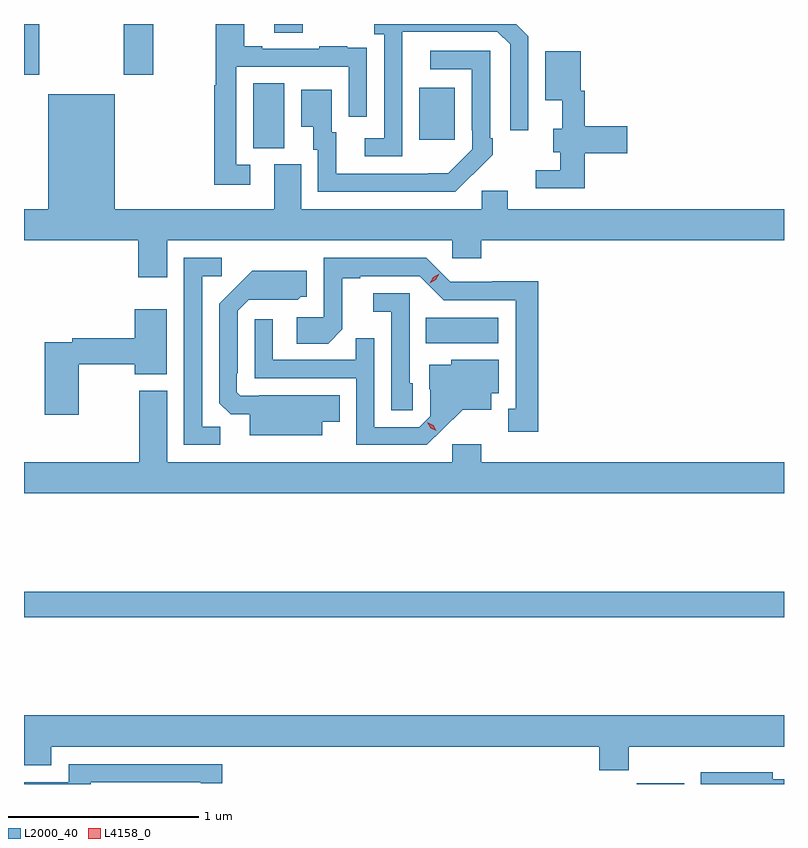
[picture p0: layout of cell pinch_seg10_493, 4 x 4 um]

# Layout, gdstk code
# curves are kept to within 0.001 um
import gdstk
lib = gdstk.Library(unit=1e-6, precision=1e-09)
def R(c, l, rs):  # rectangles x0, y0, x1, y1
    for r in rs: c.add(gdstk.rectangle(r[:2], r[2:], *l))
def P(c, l, *ps):  # polygons
    for p in ps: c.add(gdstk.Polygon(p, *l))
L2000_40 = (2000, 40)
L4158_0 = (4158, 0)

pinch_seg10_493 = lib.new_cell('pinch_seg10_493')
R(pinch_seg10_493, L2000_40, [(206.411,1258.827,206.659,1258.83), (203.185,1259.704,207.185,1259.84), (205.3,1261.148,205.681,1261.282), (204.392,1262.173,204.556,1262.516), (205.265,1262.217,205.453,1262.491), (203.185,1262.559,203.265,1262.827), (203.71,1262.559,203.865,1262.827), (204.503,1262.782,204.651,1262.827)])
P(pinch_seg10_493, L2000_40, [(204.376,1262.085),(204.303,1262.085),(204.303,1262.601),(204.894,1262.601),(204.894,1262.34),(204.99,1262.34),(204.99,1262.594),(204.989,1262.594),(204.989,1262.703),(204.887,1262.703),(204.887,1262.71),(204.739,1262.71),(204.739,1262.697),(204.439,1262.697),(204.439,1262.71),(204.343,1262.71),(204.343,1262.827),(204.195,1262.827),(204.195,1262.504),(204.187,1262.504),(204.187,1261.98),(204.376,1261.98)],
  [(205.176,1262.587),(205.177,1262.787),(205.677,1262.787),(205.743,1262.721),(205.743,1262.268),(205.839,1262.268),(205.839,1262.763),(205.775,1262.827),(205.029,1262.827),(205.029,1262.774),(205.08,1262.774),(205.08,1262.226),(204.978,1262.226),(204.978,1262.13),(205.176,1262.13)],
  [(205.547,1262.035),(205.548,1262.034),(205.653,1262.139),(205.653,1262.227),(205.638,1262.227),(205.638,1262.685),(205.323,1262.685),(205.323,1262.589),(205.542,1262.589),(205.542,1262.269),(205.545,1262.269),(205.545,1262.169),(205.417,1262.041),(204.829,1262.04),(204.829,1262.256),(204.805,1262.256),(204.805,1262.482),(204.644,1262.482),(204.644,1262.285),(204.707,1262.285),(204.707,1262.166),(204.732,1262.166),(204.732,1261.944),(205.456,1261.944)],
  [(206.135,1262.146),(206.359,1262.146),(206.359,1262.288),(206.135,1262.288),(206.135,1262.475),(206.116,1262.475),(206.116,1262.683),(205.928,1262.683),(205.928,1262.426),(206.018,1262.426),(206.018,1262.275),(205.97,1262.275),(205.97,1262.153),(206.007,1262.153),(206.007,1262.058),(205.878,1262.058),(205.878,1261.962),(206.135,1261.962)],
  [(203.938,1261.688),(205.44,1261.688),(205.44,1261.595),(205.592,1261.595),(205.592,1261.688),(207.185,1261.688),(207.185,1261.852),(205.732,1261.852),(205.732,1261.95),(205.593,1261.95),(205.593,1261.852),(204.643,1261.852),(204.643,1262.088),(204.503,1262.088),(204.503,1261.852),(203.662,1261.852),(203.662,1262.458),(203.312,1262.458),(203.312,1261.852),(203.185,1261.852),(203.185,1261.688),(203.786,1261.688),(203.786,1261.494),(203.938,1261.494)],
  [(205.891,1261.472),(205.65,1261.472),(205.65,1261.47),(205.428,1261.47),(205.302,1261.596),(204.762,1261.596),(204.762,1261.284),(204.621,1261.284),(204.621,1261.144),(204.785,1261.144),(204.861,1261.22),(204.861,1261.488),(204.955,1261.488),(204.955,1261.5),(205.269,1261.5),(205.395,1261.374),(205.772,1261.374),(205.772,1260.801),(205.733,1260.801),(205.733,1260.681),(205.891,1260.681)],
  [(204.219,1260.707),(204.123,1260.707),(204.123,1261.5),(204.226,1261.5),(204.226,1261.596),(204.027,1261.596),(204.027,1260.612),(204.219,1260.612)],
  [(204.754,1260.734),(204.848,1260.734),(204.848,1260.874),(204.424,1260.874),(204.424,1260.87),(204.324,1260.87),(204.306,1260.888),(204.306,1260.988),(204.309,1260.988),(204.309,1261.317),(204.369,1261.377),(204.626,1261.376),(204.642,1261.392),(204.673,1261.392),(204.673,1261.528),(204.385,1261.528),(204.213,1261.354),(204.213,1260.832),(204.272,1260.773),(204.374,1260.773),(204.374,1260.662),(204.754,1260.662)],
  [(205.23,1260.936),(205.215,1260.936),(205.215,1261.41),(205.023,1261.41),(205.023,1261.313),(205.119,1261.313),(205.119,1260.793),(205.23,1260.793)],
  [(203.472,1261.036),(203.768,1261.036),(203.768,1260.983),(203.935,1260.983),(203.935,1261.327),(203.768,1261.327),(203.768,1261.172),(203.44,1261.172),(203.44,1261.152),(203.294,1261.152),(203.294,1260.771),(203.472,1260.771)],
  [(205.39,1260.695),(205.493,1260.797),(205.645,1260.797),(205.645,1260.884),(205.684,1260.884),(205.684,1261.06),(205.434,1261.06),(205.434,1261.033),(205.319,1261.033),(205.319,1260.904),(205.323,1260.904),(205.323,1260.762),(205.266,1260.705),(205.029,1260.705),(205.029,1261.172),(204.931,1261.172),(204.931,1261.059),(204.495,1261.059),(204.495,1261.273),(204.399,1261.273),(204.399,1260.963),(204.933,1260.963),(204.933,1260.612),(205.306,1260.612)],
  [(207.185,1260.52),(205.592,1260.52),(205.592,1260.616),(205.44,1260.616),(205.44,1260.52),(203.938,1260.52),(203.938,1260.898),(203.791,1260.898),(203.791,1260.52),(203.185,1260.52),(203.185,1260.356),(207.185,1260.356)],
  [(206.369,1259.024),(207.185,1259.024),(207.185,1259.188),(203.185,1259.188),(203.185,1258.925),(203.329,1258.925),(203.329,1259.024),(206.213,1259.024),(206.213,1258.9),(206.369,1258.9)],
  [(203.537,1258.836),(204.116,1258.836),(204.116,1258.831),(204.229,1258.831),(204.229,1258.932),(203.421,1258.932),(203.421,1258.836),(203.185,1258.836),(203.185,1258.827),(203.537,1258.827)],
  [(207.185,1258.852),(207.127,1258.852),(207.127,1258.888),(206.747,1258.888),(206.747,1258.827),(207.185,1258.827)])
P(pinch_seg10_493, L4158_0, [(205.32,1261.462),(205.32,1261.462),(205.338,1261.495),(205.37,1261.513),(205.37,1261.513),(205.37,1261.513),(205.352,1261.481),(205.32,1261.462)],
  [(205.355,1260.685),(205.325,1260.7),(205.308,1260.73),(205.308,1260.73),(205.308,1260.73),(205.338,1260.715),(205.355,1260.685),(205.355,1260.685)])

lib.write_gds('pinch_seg10_493.gds')
